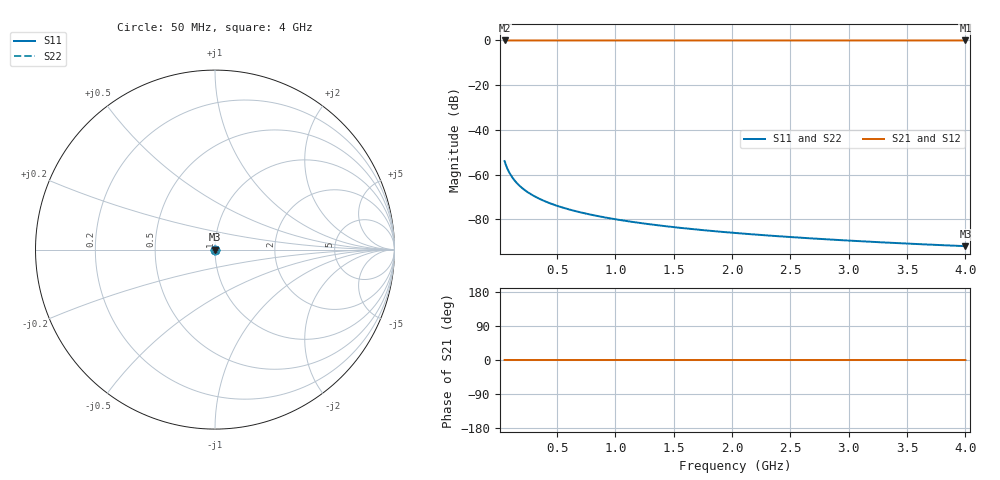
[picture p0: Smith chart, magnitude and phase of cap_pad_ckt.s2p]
# GHz S RI R 50
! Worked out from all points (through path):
!   3951 points, 50 MHz to 4 GHz, reference 50 ohm
!   highest |S21| = 0.00 dB at 4 GHz (marker M1); lowest = 0.0 dB at 50 MHz (marker M2)
!   lowest |S11| = -92.0 dB at 4 GHz (marker M3), VSWR 1.00, Z = 50 - j0.0025 ohm
!   |S11| at or under -10 dB: start of sweep to end of sweep
!   |S22| runs from -92.0 to -54.0 dB; largest |S21 - S12| = 0
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0.05  4e-06 -0.002  1 0.002  1 0.002  4e-06 -0.002
0.061  2.69e-06 -0.00164  1 0.00164  1 0.00164  2.69e-06 -0.00164
0.08  1.56e-06 -0.00125  1 0.00125  1 0.00125  1.56e-06 -0.00125
0.095  1.11e-06 -0.00105  1 0.00105  1 0.00105  1.11e-06 -0.00105
0.114  7.69e-07 -0.000877  1 0.000877  1 0.000877  7.69e-07 -0.000877
0.135  5.49e-07 -0.000741  1 0.000741  1 0.000741  5.49e-07 -0.000741
0.16  3.91e-07 -0.000625  1 0.000625  1 0.000625  3.91e-07 -0.000625
0.189  2.8e-07 -0.000529  1 0.000529  1 0.000529  2.8e-07 -0.000529
0.221  2.05e-07 -0.000452  1 0.000452  1 0.000452  2.05e-07 -0.000452
0.257  1.51e-07 -0.000389  1 0.000389  1 0.000389  1.51e-07 -0.000389
0.297  1.13e-07 -0.000337  1 0.000337  1 0.000337  1.13e-07 -0.000337
0.342  8.55e-08 -0.000292  1 0.000292  1 0.000292  8.55e-08 -0.000292
0.445  5.05e-08 -0.000225  1 0.000225  1 0.000225  5.05e-08 -0.000225
0.567  3.11e-08 -0.000176  1 0.000176  1 0.000176  3.11e-08 -0.000176
0.709  1.99e-08 -0.000141  1 0.000141  1 0.000141  1.99e-08 -0.000141
0.857  1.36e-08 -0.000117  1 0.000117  1 0.000117  1.36e-08 -0.000117
0.999  1e-08 -0.0001  1 0.0001  1 0.0001  1e-08 -0.0001
1.367  5.35e-09 -7.32e-05  1 7.32e-05  1 7.32e-05  5.35e-09 -7.32e-05
2.025  2.44e-09 -4.94e-05  1 4.94e-05  1 4.94e-05  2.44e-09 -4.94e-05
2.684  1.39e-09 -3.73e-05  1 3.73e-05  1 3.73e-05  1.39e-09 -3.73e-05
3.342  8.95e-10 -2.99e-05  1 2.99e-05  1 2.99e-05  8.95e-10 -2.99e-05
4  6.25e-10 -2.5e-05  1 2.5e-05  1 2.5e-05  6.25e-10 -2.5e-05
